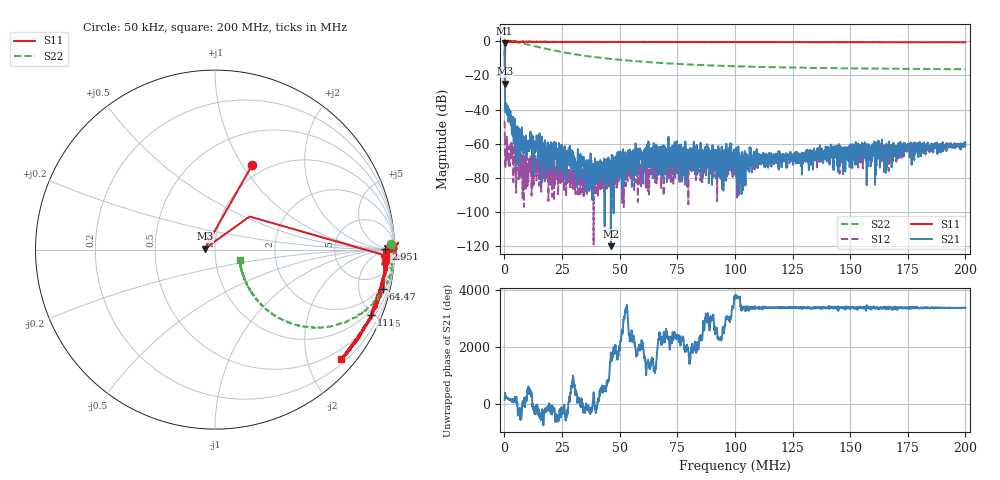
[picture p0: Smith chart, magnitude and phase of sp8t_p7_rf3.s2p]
! 26-Feb-26 1:01:26 PM
! E:\VNA_MEASUREMENTS\SP8T\SP8T_P7_RF3.S2P
! CHANNEL.1
! TR.MEASUREMENT
! CORRECTED.DATA
# GHZ S RI R 50.0
! FREQ.GHZ  S11RE  S11IM  S21RE  S21IM  S12RE  S12IM  S22RE  S22IM
!; PortSelection: Port_12
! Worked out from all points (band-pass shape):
!   2000 points, 50 kHz to 200 MHz, reference 50 ohm
!   highest |S21| = -1.29 dB at 50 kHz (marker M1); lowest = -120.0 dB at 46.16 MHz (marker M2)
!   |S21| within 3 dB of the highest: start of sweep to 101.1 kHz
!   lowest |S11| = -24.8 dB at 150 kHz (marker M3), VSWR 1.12, Z = 44.6 + j0.471 ohm
!   |S11| at or under -10 dB: 72.22 kHz to 262.7 kHz (190.5 kHz wide, 114 % of centre)
!   |S22| runs from -16.5 to 0.1 dB; largest |S21 - S12| = 0.86
!   S11 on the Smith chart (normalised r, x): 50 kHz: 0.86, +1.11; 2.951 MHz: 39, +2; 64.47 MHz: 1.45, -8.41; 111 MHz: 0.72, -4.86; 200 MHz: 0.30, -2.64
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5e-05  0.207 0.4714  -0.6606 0.5541  -0.00418 0.00178  0.9808 0.0333
0.000150025  -0.0571 0.00527  -0.2438 -0.3644  0.000527 0.00103  1.011 -0.00844
0.0012503  0.9834 -0.0209  -0.00753 -0.00606  0.000384 0.000263  0.9853 -0.0859
0.002950725  0.9498 0.00253  -0.00127 0.0032  0.000487 0.000937  0.9619 -0.1794
0.004851201  0.9507 -0.0422  0.000114 0.0015  -8.48e-05 -0.000114  0.8935 -0.2839
0.009152276  0.9766 -0.0439  -0.00137 0.000282  -5.05e-05 -0.000101  0.7137 -0.4106
0.03345835  0.9471 -0.1165  -0.000258 -4.11e-05  3.13e-05 0.000182  0.2494 -0.2977
0.03625905  0.9462 -0.1288  -0.000142 -0.000163  9.8e-06 5.16e-05  0.2327 -0.2812
0.04616153  0.9398 -0.1587  1e-06 0  -5.13e-05 -5.06e-05  0.1984 -0.2311
0.06446611  0.9361 -0.2191  -0.000617 0.000469  -0.000256 -7.91e-05  0.1675 -0.1708
0.06676668  0.9185 -0.227  -0.000192 0.000312  -0.000163 -8.94e-05  0.1661 -0.1661
0.07526881  0.9111 -0.2559  -0.000273 -0.000133  -7.51e-05 0.000132  0.1592 -0.1474
0.07886971  0.9133 -0.2626  -0.000179 0.000253  0.000217 0.000121  0.1563 -0.1413
0.08267066  0.8989 -0.2805  0.000445 0.000214  -0.000218 -0.000141  0.1534 -0.1348
0.09417354  0.8841 -0.3205  -0.000465 0.000528  -4.03e-05 0.000321  0.1494 -0.1194
0.100075  0.8867 -0.3355  -0.000447 1.92e-05  -0.000327 0.000165  0.1471 -0.1128
0.1025756  0.8787 -0.3341  9.93e-05 0.000116  -0.000276 0.000192  0.1463 -0.1102
0.1109777  0.8704 -0.3656  -0.000137 0.000394  -0.000328 0.000305  0.145 -0.1027
0.1333833  0.8346 -0.4319  -0.00018 0.000261  -0.000536 0.000185  0.1419 -0.0857
0.1648912  0.7763 -0.5192  -0.000228 0.000844  -0.000281 0.000659  0.14 -0.0708
0.1666917  0.7724 -0.5291  -0.000303 0.000713  -4.4e-06 0.000158  0.1402 -0.0699
0.2  0.6993 -0.6109  -0.00063 0.000802  -0.000431 0.00076  0.1395 -0.0578
